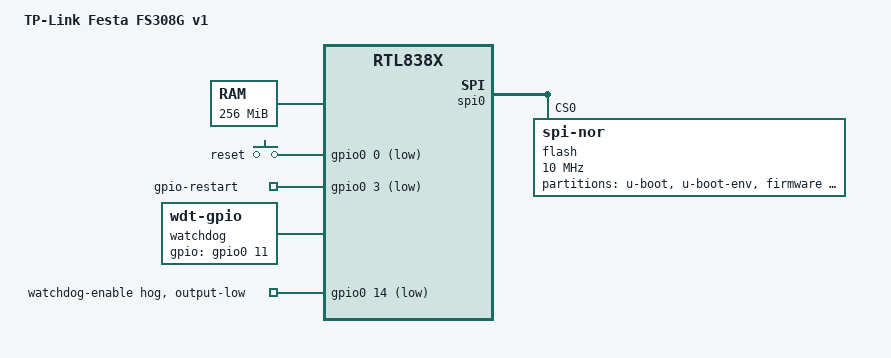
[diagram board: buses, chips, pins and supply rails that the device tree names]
// SPDX-License-Identifier: GPL-2.0-or-later

#include "rtl838x.dtsi"

#include <dt-bindings/input/input.h>
#include <dt-bindings/gpio/gpio.h>

/ {
	compatible = "tplink,festa-fs308g-v1", "realtek,rtl838x-soc";
	model = "TP-Link Festa FS308G v1";

	aliases {
		label-mac-device = &ethernet0;
	};

	memory@0 {
		device_type = "memory";
		reg = <0x0 0x10000000>;
	};

	keys {
		pinctrl-names = "default";
		pinctrl-0 = <&pinmux_disable_sys_led>;

		compatible = "gpio-keys";

		reset {
			label = "reset";
			gpios = <&gpio0 0 GPIO_ACTIVE_LOW>;
			linux,code = <KEY_RESTART>;
		};
	};

	gpio-restart {
		compatible = "gpio-restart";
		gpios = <&gpio0 3 GPIO_ACTIVE_LOW>;
	};

	watchdog {
		compatible = "linux,wdt-gpio";
		gpios = <&gpio0 11 GPIO_ACTIVE_HIGH>;
		hw_algo = "toggle";
		/* SGM706 specs: typical 1.6s, minimum 1.0s */
		hw_margin_ms = <1000>;
	};
};

&gpio0 {
	watchdog-enable {
		gpio-hog;
		gpios = <14 GPIO_ACTIVE_LOW>;
		output-low;
		line-name = "watchdog-enable";
	};
};

&spi0 {
	status = "okay";

	flash@0 {
		compatible = "jedec,spi-nor";
		reg = <0>;
		spi-max-frequency = <10000000>;

		partitions {
			compatible = "fixed-partitions";
			#address-cells = <1>;
			#size-cells = <1>;

			partition@0 {
				label = "u-boot";
				reg = <0x0 0xe0000>;
				read-only;
			};

			partition@e0000 {
				label = "u-boot-env";
				reg = <0xe0000 0x20000>;
			};

			partition@100000 {
				compatible = "openwrt,uimage", "denx,uimage";
				openwrt,ih-magic = <0x83800000>;
				label = "firmware";
				reg = <0x100000 0x1a00000>;
			};

			partition@1b00000 {
				label = "usrappfs";
				reg = <0x1b00000 0x400000>;
			};

			partition@1f00000 {
				label = "para";
				reg = <0x1f00000 0x100000>;
				read-only;

				nvmem-layout {
					compatible = "fixed-layout";
					#address-cells = <1>;
					#size-cells = <1>;

					factory_macaddr: macaddr@fdff4 {
						reg = <0xfdff4 0x6>;
					};
				};
			};
		};
	};
};

&mdio_bus0 {
	PHY_C22(8, 8)
	PHY_C22(9, 9)
	PHY_C22(10, 10)
	PHY_C22(11, 11)
	PHY_C22(12, 12)
	PHY_C22(13, 13)
	PHY_C22(14, 14)
	PHY_C22(15, 15)
};

&ethernet0 {
	nvmem-cells = <&factory_macaddr>;
	nvmem-cell-names = "mac-address";
};

&switch0 {
	ethernet-ports {
		#address-cells = <1>;
		#size-cells = <0>;

		SWITCH_PORT(15, 1, internal)
		SWITCH_PORT(14, 2, internal)
		SWITCH_PORT(13, 3, internal)
		SWITCH_PORT(12, 4, internal)
		SWITCH_PORT(11, 5, internal)
		SWITCH_PORT(10, 6, internal)
		SWITCH_PORT(9, 7, internal)
		SWITCH_PORT(8, 8, internal)

		port@28 {
			ethernet = <&ethernet0>;
			reg = <28>;
			phy-mode = "internal";

			fixed-link {
				speed = <1000>;
				full-duplex;
			};
		};
	};
};
